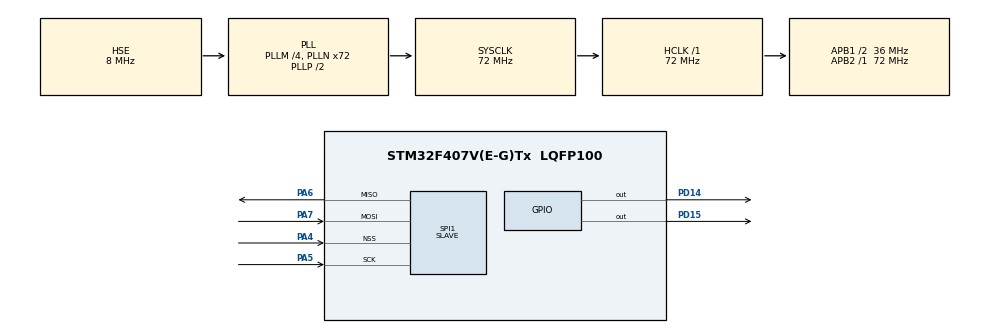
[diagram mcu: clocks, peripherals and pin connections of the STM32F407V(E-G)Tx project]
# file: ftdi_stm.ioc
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Dma.Request0=SPI1_RX
Dma.Request1=SPI1_TX
Dma.SPI1_RX.0.Direction=DMA_PERIPH_TO_MEMORY
Dma.SPI1_RX.0.FIFOMode=DMA_FIFOMODE_DISABLE
Dma.SPI1_RX.0.Instance=DMA2_Stream0
Dma.SPI1_RX.0.MemDataAlignment=DMA_MDATAALIGN_BYTE
Dma.SPI1_RX.0.MemInc=DMA_MINC_ENABLE
Dma.SPI1_RX.0.Mode=DMA_NORMAL
Dma.SPI1_RX.0.PeriphDataAlignment=DMA_PDATAALIGN_BYTE
Dma.SPI1_RX.0.PeriphInc=DMA_PINC_DISABLE
Dma.SPI1_RX.0.Priority=DMA_PRIORITY_LOW
Dma.SPI1_TX.1.Direction=DMA_MEMORY_TO_PERIPH
Dma.SPI1_TX.1.FIFOMode=DMA_FIFOMODE_DISABLE
Dma.SPI1_TX.1.Instance=DMA2_Stream3
Dma.SPI1_TX.1.MemDataAlignment=DMA_MDATAALIGN_BYTE
Dma.SPI1_TX.1.MemInc=DMA_MINC_ENABLE
Dma.SPI1_TX.1.Mode=DMA_NORMAL
Dma.SPI1_TX.1.PeriphDataAlignment=DMA_PDATAALIGN_BYTE
Dma.SPI1_TX.1.PeriphInc=DMA_PINC_DISABLE
Dma.SPI1_TX.1.Priority=DMA_PRIORITY_LOW
Mcu.Family=STM32F4
Mcu.Name=STM32F407V(E-G)Tx
Mcu.Package=LQFP100
NVIC.DMA2_Stream0_IRQn=true\:0\:0\:false\:false\:true\:false\:true
NVIC.DMA2_Stream3_IRQn=true\:0\:0\:false\:false\:true\:false\:true
NVIC.PriorityGroup=NVIC_PRIORITYGROUP_4
NVIC.SPI1_IRQn=true\:0\:0\:false\:false\:true\:true\:true
PA4.Mode=NSS_Signal_Hard_Input
PA4.Signal=SPI1_NSS
PA5.Mode=Full_Duplex_Slave
PA5.Signal=SPI1_SCK
PA6.Mode=Full_Duplex_Slave
PA6.Signal=SPI1_MISO
PA7.Mode=Full_Duplex_Slave
PA7.Signal=SPI1_MOSI
PD14.Signal=GPIO_Output
PD15.Signal=GPIO_Output
PH0-OSC_IN.Mode=HSE-External-Oscillator
PH0-OSC_IN.Signal=RCC_OSC_IN
PH1-OSC_OUT.Mode=HSE-External-Oscillator
PH1-OSC_OUT.Signal=RCC_OSC_OUT
ProjectManager.HeapSize=0x200
ProjectManager.StackSize=0x400
ProjectManager.TargetToolchain=STM32CubeIDE
RCC.48MHZClocksFreq_Value=36000000
RCC.AHBFreq_Value=72000000
RCC.APB1CLKDivider=RCC_HCLK_DIV2
RCC.APB1Freq_Value=36000000
RCC.APB1TimFreq_Value=72000000
RCC.APB2Freq_Value=72000000
RCC.APB2TimFreq_Value=72000000
RCC.CortexFreq_Value=72000000
RCC.HCLKFreq_Value=72000000
RCC.HSE_VALUE=8000000
RCC.HSI_VALUE=16000000
RCC.LSE_VALUE=32768
RCC.PLLM=4
RCC.PLLN=72
RCC.PLLSourceVirtual=RCC_PLLSOURCE_HSE
RCC.SYSCLKFreq_VALUE=72000000
RCC.SYSCLKSource=RCC_SYSCLKSOURCE_PLLCLK
RCC.VCOOutputFreq_Value=144000000
SPI1.Direction=SPI_DIRECTION_2LINES
SPI1.Mode=SPI_MODE_SLAVE
SPI1.VirtualNSS=VM_NSSHARD
SPI1.VirtualType=VM_SLAVE
board=custom

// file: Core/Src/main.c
/* USER CODE BEGIN Header */
/**
  ******************************************************************************
  * @file           : main.c
  * @brief          : Main program body
  ******************************************************************************
  * @attention
  *
  * <h2><center>&copy; Copyright (c) 2020 STMicroelectronics.
  * All rights reserved.</center></h2>
  *
  * This software component is licensed by ST under BSD 3-Clause license,
  * the "License"; You may not use this file except in compliance with the
  * License. You may obtain a copy of the License at:
  *                        opensource.org/licenses/BSD-3-Clause
  *
  ******************************************************************************
  */
/* USER CODE END Header */

#include "main.h"
/* USER CODE BEGIN Includes */
#include <stdio.h>
#include "spi.h"
#include "dma.h"
#include "timer.h"
#include "adc.h"
#include "uart.h"
#include "state_machine.h"
/* USER CODE END Includes */

/* USER CODE BEGIN PD */
#define N 5
#define M 48
/* USER CODE END PD */

SPI_HandleTypeDef hspi1;
DMA_HandleTypeDef hdma_spi1_rx;
DMA_HandleTypeDef hdma_spi1_tx;

void SystemClock_Config(void);
static void MX_GPIO_Init(void);
static void MX_DMA_Init(void);
static void MX_SPI1_Init(void);

/* USER CODE BEGIN 0 */
uint8_t convBuff[M][N] = {0};
uint8_t packets = 0;
/* USER CODE END 0 */

int main(void)
{

  /* MCU Configuration--------------------------------------------------------*/

  /* Reset of all peripherals, Initializes the Flash interface and the Systick. */
  HAL_Init();

  /* Configure the system clock */
  SystemClock_Config();

  /* Initialize all configured peripherals */
  MX_GPIO_Init();
  MX_DMA_Init();
  //ADC_Init();
  MX_SPI1_Init();
  UART_Init();

  /* Infinite loop */
  while (1)
  {

  }
}

void SystemClock_Config(void)
{
  RCC_OscInitTypeDef RCC_OscInitStruct = {0};
  RCC_ClkInitTypeDef RCC_ClkInitStruct = {0};

  /** Configure the main internal regulator output voltage
  */
  __HAL_RCC_PWR_CLK_ENABLE();
  __HAL_PWR_VOLTAGESCALING_CONFIG(PWR_REGULATOR_VOLTAGE_SCALE1);
  /** Initializes the CPU, AHB and APB busses clocks
  */
  RCC_OscInitStruct.OscillatorType = RCC_OSCILLATORTYPE_HSE;
  RCC_OscInitStruct.HSEState = RCC_HSE_ON;
  RCC_OscInitStruct.PLL.PLLState = RCC_PLL_ON;
  RCC_OscInitStruct.PLL.PLLSource = RCC_PLLSOURCE_HSE;
  RCC_OscInitStruct.PLL.PLLM = 4;
  RCC_OscInitStruct.PLL.PLLN = 72;
  RCC_OscInitStruct.PLL.PLLP = RCC_PLLP_DIV2;
  RCC_OscInitStruct.PLL.PLLQ = 4;
  if (HAL_RCC_OscConfig(&RCC_OscInitStruct) != HAL_OK)
  {
    Error_Handler();
  }
  /** Initializes the CPU, AHB and APB busses clocks
  */
  RCC_ClkInitStruct.ClockType = RCC_CLOCKTYPE_HCLK|RCC_CLOCKTYPE_SYSCLK
                              |RCC_CLOCKTYPE_PCLK1|RCC_CLOCKTYPE_PCLK2;
  RCC_ClkInitStruct.SYSCLKSource = RCC_SYSCLKSOURCE_PLLCLK;
  RCC_ClkInitStruct.AHBCLKDivider = RCC_SYSCLK_DIV1;
  RCC_ClkInitStruct.APB1CLKDivider = RCC_HCLK_DIV2;
  RCC_ClkInitStruct.APB2CLKDivider = RCC_HCLK_DIV1;

  if (HAL_RCC_ClockConfig(&RCC_ClkInitStruct, FLASH_LATENCY_2) != HAL_OK)
  {
    Error_Handler();
  }
}

static void MX_SPI1_Init(void)
{

  /* SPI1 parameter configuration*/
  hspi1.Instance = SPI1;
  hspi1.Init.Mode = SPI_MODE_SLAVE;
  hspi1.Init.Direction = SPI_DIRECTION_2LINES;
  hspi1.Init.DataSize = SPI_DATASIZE_8BIT;
  hspi1.Init.CLKPolarity = SPI_POLARITY_LOW;
  hspi1.Init.CLKPhase = SPI_PHASE_1EDGE;
  hspi1.Init.NSS = SPI_NSS_HARD_INPUT;
  hspi1.Init.FirstBit = SPI_FIRSTBIT_MSB;
  hspi1.Init.TIMode = SPI_TIMODE_DISABLE;
  hspi1.Init.CRCCalculation = SPI_CRCCALCULATION_DISABLE;
  hspi1.Init.CRCPolynomial = 10;
  if (HAL_SPI_Init(&hspi1) != HAL_OK)
  {
    Error_Handler();
  }

}

static void MX_DMA_Init(void)
{

  /* DMA controller clock enable */
  __HAL_RCC_DMA2_CLK_ENABLE();

  /* DMA interrupt init */
  /* DMA2_Stream0_IRQn interrupt configuration */
  HAL_NVIC_SetPriority(DMA2_Stream0_IRQn, 0, 0);
  HAL_NVIC_EnableIRQ(DMA2_Stream0_IRQn);
  /* DMA2_Stream3_IRQn interrupt configuration */
  HAL_NVIC_SetPriority(DMA2_Stream3_IRQn, 0, 0);
  HAL_NVIC_EnableIRQ(DMA2_Stream3_IRQn);

}

static void MX_GPIO_Init(void)
{
  GPIO_InitTypeDef GPIO_InitStruct = {0};

  /* GPIO Ports Clock Enable */
  __HAL_RCC_GPIOH_CLK_ENABLE();
  __HAL_RCC_GPIOA_CLK_ENABLE();
  __HAL_RCC_GPIOD_CLK_ENABLE();

  /*Configure GPIO pin Output Level */
  HAL_GPIO_WritePin(GPIOD, GPIO_PIN_14|GPIO_PIN_15, GPIO_PIN_RESET);

  /*Configure GPIO pins : PD14 PD15 */
  GPIO_InitStruct.Pin = GPIO_PIN_14|GPIO_PIN_15;
  GPIO_InitStruct.Mode = GPIO_MODE_OUTPUT_PP;
  GPIO_InitStruct.Pull = GPIO_NOPULL;
  GPIO_InitStruct.Speed = GPIO_SPEED_FREQ_LOW;
  HAL_GPIO_Init(GPIOD, &GPIO_InitStruct);

}

/* USER CODE BEGIN 4 */
void DMA2_Stream4_IRQHandler()
{
	if (DMA2->HISR & DMA_HISR_TCIF4)
	{
		DMA2->HIFCR |= DMA_HIFCR_CTCIF4; //clear interrupt flag
		ADC_DMA_Disable();
		ADC1->CR2 &= ~ADC_CR2_ADON; //disable ADC
		if (++packets == M)
		{
			EXTI->IMR &= ~EXTI_IMR_IM11; //disable external interrupt
		}
#if DEBUG_EXTI
		GPIOD->ODR &= ~GPIO_ODR_OD14;
#endif
	}
}

void EXTI15_10_IRQHandler()
{
	if (EXTI->PR & EXTI_PR_PR11)
	{
		EXTI->PR = EXTI_PR_PR11; //clear interrupt flag
		ADC1->CR2 |= ADC_CR2_ADON; //enable ADC
		ADC_DMA_Init(*(convBuff + packets), N); //start storing data to buff
		ADC1->CR2 |= ADC_CR2_SWSTART; //start ADC conversion
		ADC_DMA_Enable(); //enable DMA
#if DEBUG_EXTI
	GPIOD->ODR |= GPIO_ODR_OD14;
#endif
	}
}

void HAL_SPI_RxCpltCallback(SPI_HandleTypeDef *hspi)
{
	if (hspi == &hspi1)
	{

	}
}

int __io_putchar(int ch)
{
	UART_SendByte(ch);
	return ch;
}
/* USER CODE END 4 */

void Error_Handler(void)
{
}

/************************ (C) COPYRIGHT STMicroelectronics *****END OF FILE****/
